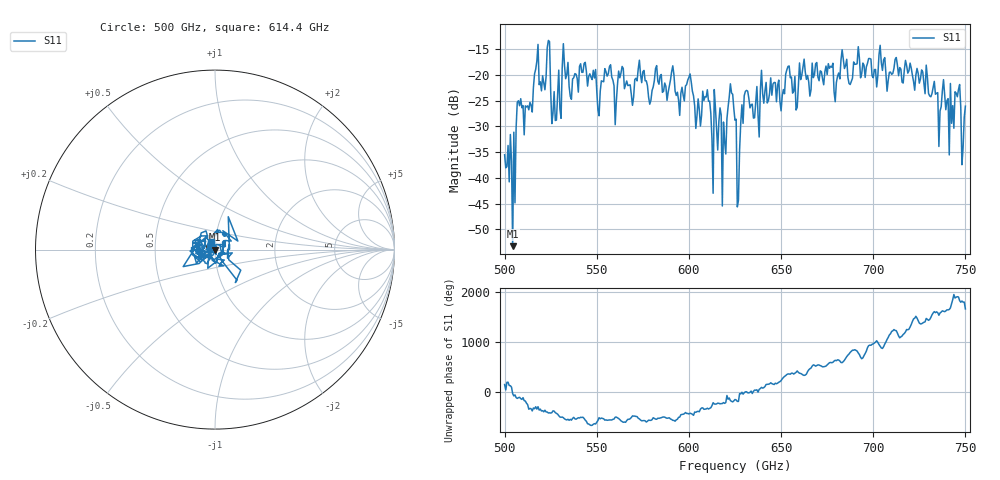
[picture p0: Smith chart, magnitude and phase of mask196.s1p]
!Created with skrf (http://scikit-rf.org).
# GHz S MA R 50.0
!freq magS11 angS11
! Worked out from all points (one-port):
!   401 points, 500 GHz to 750 GHz, reference 50 ohm
!   lowest |S11| = -53.3 dB at 504.4 GHz (marker M1), VSWR 1.00, Z = 50.2 - j0.108 ohm
!   |S11| at or under -10 dB: start of sweep to end of sweep
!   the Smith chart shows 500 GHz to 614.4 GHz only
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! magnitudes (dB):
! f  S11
! 500 GHz  -35.5
! 504.4 GHz  -53.3
! 507.5 GHz  -25.0
! 513.8 GHz  -25.3
! 516.9 GHz  -18.9
! 520.6 GHz  -20.2
! 523.8 GHz  -13.3
! 526.9 GHz  -23.2
! 531.2 GHz  -18.6
! 542.5 GHz  -19.5
! 551.2 GHz  -27.9
! 562.5 GHz  -20.6
! 590.6 GHz  -19.4
! 593.8 GHz  -23.4
! 610 GHz  -22.9
! 611.9 GHz  -27.5
! 619.4 GHz  -33.0
! 623.1 GHz  -23.5
! 625 GHz  -28.8
! 626.9 GHz  -44.4
! 631.2 GHz  -23.0
! 636.9 GHz  -22.3
! 656.2 GHz  -23.5
! 680 GHz  -21.5
! 684.4 GHz  -18.8
! 687.5 GHz  -21.9
! 718.8 GHz  -19.7
! 750 GHz  -26.1
